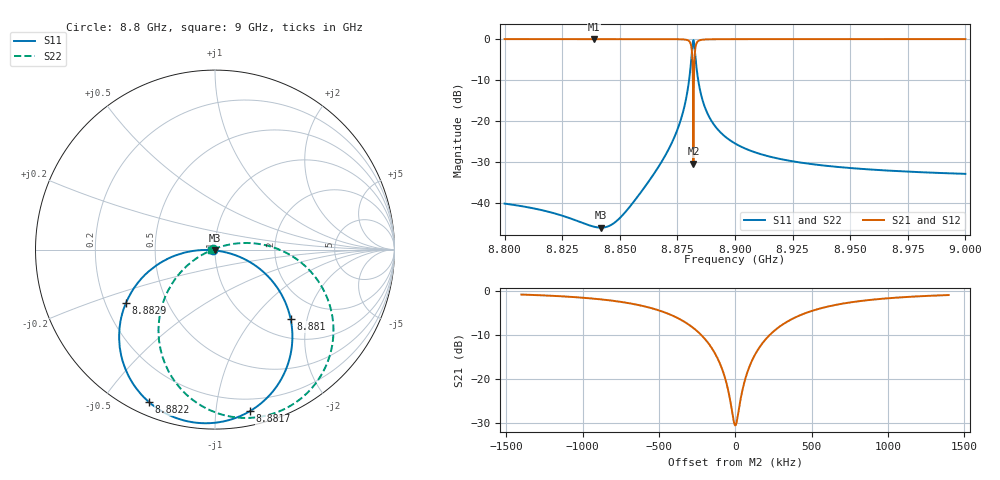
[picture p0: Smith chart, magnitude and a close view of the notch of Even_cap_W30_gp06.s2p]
! Sonnet Data File
! From: emgraph Version : 16.52
! From Project: Resonator2_cp_varyW
! Data is De-embedded
! Data File Written: 10/07/2017 09:25:23
!< HDATE 10/06/2017 17:18:21
!< MDATE 10/06/2017 17:18:21
!< PARAMS
!< gap = 6.0
!< Length = 400.0
!< Pwid1 = 2000.0
!< Pwid2 = 2000.0
!< Air_gap = 18.0
!< Width = 30.0
!< END PARAMS
# GHZ S MA R 51.80000
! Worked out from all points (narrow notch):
!   1595 points, 8.8 GHz to 9 GHz, reference 51.8 ohm
!   highest |S21| = 0.00 dB at 8.8386 GHz (marker M1); lowest = -30.5 dB at 8.882 GHz (marker M2)
!   notch at M2: 30.5 dB deep, 234 kHz wide at half that depth
!   lowest |S11| = -46.1 dB at 8.8418 GHz (marker M3), VSWR 1.01, Z = 51.7 - j0.507 ohm
!   |S11| at or under -10 dB: start of sweep to 8.8801 GHz; 8.884 GHz to end of sweep
!   |S22| runs from -46.2 to -0.3 dB; largest |S21 - S12| = 0
!   S11 on the Smith chart (normalised r, x): 8.8 GHz: 0.98, -0.01; 8.881 GHz: 1.39, -1.59; 8.8817 GHz: 0.10, -1.23; 8.8822 GHz: 0.06, -0.65; 8.8829 GHz: 0.29, -0.25; 9 GHz: 0.96, -0.01
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8.8  0.009704 -154.3  0.9999 -81.3  0.9999 -81.3  0.009704 171.8
!< P1 F=8.8 Eeff=(6.44507571 -2.9713e-5) Z0=(50.6188468 1.16784e-4) R=0.0 C=0.0
!< P2 F=8.8 Eeff=(6.44507571 -2.9713e-5) Z0=(50.6188468 1.16784e-4) R=0.0 C=0.0
8.8334  0.005693 -125.5  1 -81.9  1 -81.9  0.005686 141.8
8.8386  0.005079 -109.6  1 -82.0  1 -82.0  0.005069 125.6
8.8418  0.004928 -96.0  1 -82.1  1 -82.1  0.004916 111.7
8.8518  0.00731 -48.5  1 -82.5  1 -82.5  0.007294 63.3
8.8668  0.02738 -17.9  0.9996 -83.9  0.9996 -83.9  0.02736 29.9
8.876581  0.1053 -14.9  0.994 -88.5  0.994 -88.5  0.1053 17.5
8.8798  0.2766 -23.6  0.9582 -98.5  0.9582 -98.5  0.2765 5.4
8.881043  0.5706 -42.5  0.8084 -117.3  0.8084 -117.3  0.5704 -14.7
8.881728  0.9208 -77.8  0.3155 -148.9  0.3155 -148.9  0.9205 -50.6
8.881862  0.9617 -88.5  0.1347 -152.2  0.1347 -152.2  0.9614 -61.4
8.881951  0.9702 -96.0  0.02995 -83.5  0.02995 -83.5  0.9699 -69.0
8.88204  0.9622 -103.4  0.1327 -12.8  0.1327 -12.8  0.9619 -76.5
8.882166  0.9254 -113.5  0.3028 -15.4  0.3028 -15.4  0.9251 -86.6
8.88241  0.8061 -129.7  0.5578 -28.9  0.5578 -28.9  0.8059 -103.0
8.882888  0.5768 -149.2  0.8048 -47.3  0.8048 -47.3  0.5766 -123.0
8.884401  0.2728 -168.8  0.9599 -66.7  0.9599 -66.7  0.2727 -143.7
8.888026  0.1235 -176.5  0.992 -75.5  0.992 -75.5  0.1234 -154.1
8.9  0.05286 -177.8  0.9986 -79.6  0.9986 -79.6  0.05285 -161.4
8.9334  0.0295 -175.2  0.9996 -81.3  0.9996 -81.3  0.0295 -167.4
8.9668  0.02457 -173.8  0.9997 -81.9  0.9997 -81.9  0.02457 -170.0
9  0.02244 -173.1  0.9997 -82.3  0.9997 -82.3  0.02244 -171.6
